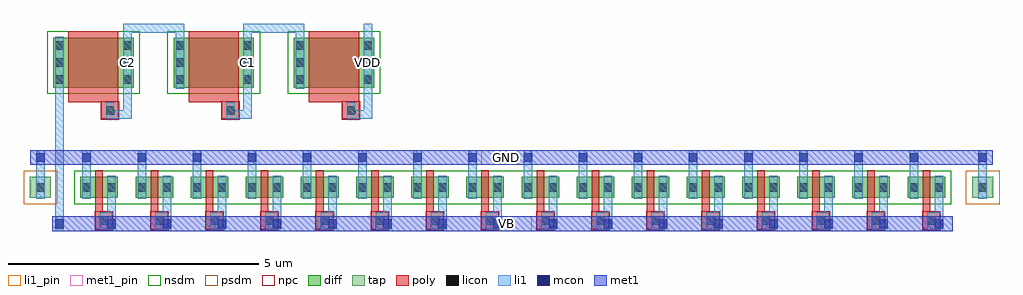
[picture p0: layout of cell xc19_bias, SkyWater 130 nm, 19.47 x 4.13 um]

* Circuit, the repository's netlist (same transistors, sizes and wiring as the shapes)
* NGSPICE file created from xc19_bias.ext - technology: sky130A

.subckt xc19_bias VB GND VDD C1 C2
X0 VB VB GND GND sky130_fd_pr__nfet_01v8 ad=0.126 pd=1.44 as=0.126 ps=1.44 w=0.42 l=0.15
X1 VB VB GND GND sky130_fd_pr__nfet_01v8 ad=0.126 pd=1.44 as=0.126 ps=1.44 w=0.42 l=0.15
X2 VB VB GND GND sky130_fd_pr__nfet_01v8 ad=0.126 pd=1.44 as=0.126 ps=1.44 w=0.42 l=0.15
X3 VB VB GND GND sky130_fd_pr__nfet_01v8 ad=0.126 pd=1.44 as=0.126 ps=1.44 w=0.42 l=0.15
X4 VB VB GND GND sky130_fd_pr__nfet_01v8 ad=0.126 pd=1.44 as=0.126 ps=1.44 w=0.42 l=0.15
X5 VB VB GND GND sky130_fd_pr__nfet_01v8 ad=0.126 pd=1.44 as=0.126 ps=1.44 w=0.42 l=0.15
X6 VB VB GND GND sky130_fd_pr__nfet_01v8 ad=0.126 pd=1.44 as=0.126 ps=1.44 w=0.42 l=0.15
X7 VB VB GND GND sky130_fd_pr__nfet_01v8 ad=0.126 pd=1.44 as=0.126 ps=1.44 w=0.42 l=0.15
X8 VB VB GND GND sky130_fd_pr__nfet_01v8 ad=0.126 pd=1.44 as=0.126 ps=1.44 w=0.42 l=0.15
X9 VB VB GND GND sky130_fd_pr__nfet_01v8 ad=0.126 pd=1.44 as=0.126 ps=1.44 w=0.42 l=0.15
X10 VB VB GND GND sky130_fd_pr__nfet_01v8 ad=0.126 pd=1.44 as=0.126 ps=1.44 w=0.42 l=0.15
X11 C2 C2 VB GND sky130_fd_pr__nfet_01v8 ad=0.3 pd=2.6 as=0.3 ps=2.6 w=1 l=1
X12 VB VB GND GND sky130_fd_pr__nfet_01v8 ad=0.126 pd=1.44 as=0.126 ps=1.44 w=0.42 l=0.15
X13 VB VB GND GND sky130_fd_pr__nfet_01v8 ad=0.126 pd=1.44 as=0.126 ps=1.44 w=0.42 l=0.15
X14 VB VB GND GND sky130_fd_pr__nfet_01v8 ad=0.126 pd=1.44 as=0.126 ps=1.44 w=0.42 l=0.15
X15 C1 C1 C2 GND sky130_fd_pr__nfet_01v8 ad=0.3 pd=2.6 as=0.3 ps=2.6 w=1 l=1
X16 VB VB GND GND sky130_fd_pr__nfet_01v8 ad=0.126 pd=1.44 as=0.126 ps=1.44 w=0.42 l=0.15
X17 VDD VDD C1 GND sky130_fd_pr__nfet_01v8 ad=0.3 pd=2.6 as=0.3 ps=2.6 w=1 l=1
X18 VB VB GND GND sky130_fd_pr__nfet_01v8 ad=0.126 pd=1.44 as=0.126 ps=1.44 w=0.42 l=0.15
.ends

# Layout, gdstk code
import gdstk
lib = gdstk.Library(unit=1e-6, precision=1e-09)
def R(c, l, rs):  # rectangles x0, y0, x1, y1
    for r in rs: c.add(gdstk.rectangle(r[:2], r[2:], *l))
def A(c, l, x, y, w, h, nx, ny, dx, dy):  # array of equal rectangles
    R(c, l, [(x+i*dx, y+j*dy, x+i*dx+w, y+j*dy+h) for i in range(nx) for j in range(ny)])
diff = (65, 20)
tap = (65, 44)
poly = (66, 20)
licon = (66, 44)
li1_pin = (67, 16)
li1 = (67, 20)
mcon = (67, 44)
met1_pin = (68, 16)
met1 = (68, 20)
nsdm = (93, 44)
psdm = (94, 20)
npc = (95, 20)

xc19_bias = lib.new_cell('xc19_bias')
A(xc19_bias, diff, 0, 0, 0.75, 0.42, 16, 1, 1.1, 0)
A(xc19_bias, diff, -0.54, 2.2, 1.6, 1, 3, 1, 2.4, 0)
R(xc19_bias, tap, [(-1.01,0,-0.59,0.42), (17.79,0,18.21,0.42)])
A(xc19_bias, poly, 0.3, -0.62, 0.34, 0.33, 16, 1, 1.1, 0)
A(xc19_bias, poly, 0.3, -0.29, 0.15, 0.84, 16, 1, 1.1, 0)
A(xc19_bias, poly, 0.42, 1.58, 0.34, 0.33, 3, 1, 2.4, 0)
A(xc19_bias, poly, -0.24, 1.91, 1, 1.42, 3, 1, 2.4, 0)
A(xc19_bias, licon, 0.39, -0.54, 0.17, 0.17, 16, 1, 1.1, 0)
A(xc19_bias, licon, 0.51, 1.66, 0.17, 0.17, 3, 1, 2.4, 0)
A(xc19_bias, licon, -0.5, 2.275, 0.17, 0.17, 1, 3, 0, 0.34)
A(xc19_bias, licon, 0.85, 2.275, 0.17, 0.17, 1, 3, 0, 0.34)
A(xc19_bias, licon, 1.9, 2.275, 0.17, 0.17, 1, 3, 0, 0.34)
A(xc19_bias, licon, 3.25, 2.275, 0.17, 0.17, 1, 3, 0, 0.34)
A(xc19_bias, licon, 4.3, 2.275, 0.17, 0.17, 1, 3, 0, 0.34)
A(xc19_bias, licon, 5.65, 2.275, 0.17, 0.17, 1, 3, 0, 0.34)
R(xc19_bias, licon, [(-0.885,0.125,-0.715,0.295), (0.04,0.125,0.21,0.295), (0.54,0.125,0.71,0.295), (1.14,0.125,1.31,0.295), (1.64,0.125,1.81,0.295), (2.24,0.125,2.41,0.295), (2.74,0.125,2.91,0.295), (3.34,0.125,3.51,0.295), (3.84,0.125,4.01,0.295), (4.44,0.125,4.61,0.295), (4.94,0.125,5.11,0.295), (5.54,0.125,5.71,0.295), (6.04,0.125,6.21,0.295), (6.64,0.125,6.81,0.295), (7.14,0.125,7.31,0.295), (7.74,0.125,7.91,0.295), (8.24,0.125,8.41,0.295), (8.84,0.125,9.01,0.295), (9.34,0.125,9.51,0.295), (9.94,0.125,10.11,0.295), (10.44,0.125,10.61,0.295), (11.04,0.125,11.21,0.295), (11.54,0.125,11.71,0.295), (12.14,0.125,12.31,0.295), (12.64,0.125,12.81,0.295), (13.24,0.125,13.41,0.295), (13.74,0.125,13.91,0.295), (14.34,0.125,14.51,0.295), (14.84,0.125,15.01,0.295), (15.44,0.125,15.61,0.295), (15.94,0.125,16.11,0.295), (16.54,0.125,16.71,0.295), (17.04,0.125,17.21,0.295), (17.915,0.125,18.085,0.295)])
A(xc19_bias, li1_pin, 0.85, 2.4, 0.17, 0.6, 3, 1, 2.4, 0)
A(xc19_bias, li1, 0.39, -0.62, 0.32, 0.33, 16, 1, 1.1, 0)
A(xc19_bias, li1, 0.54, -0.29, 0.17, 0.73, 16, 1, 1.1, 0)
A(xc19_bias, li1, 0.04, -0.02, 0.17, 0.97, 16, 1, 1.1, 0)
A(xc19_bias, li1, 0.51, 1.58, 0.51, 0.17, 3, 1, 2.4, 0)
A(xc19_bias, li1, 0.51, 1.75, 0.17, 0.16, 3, 1, 2.4, 0)
R(xc19_bias, li1, [(-0.5,-0.62,-0.33,3.22), (-0.885,-0.02,-0.715,0.95), (17.915,-0.02,18.085,0.95), (0.85,1.75,1.02,3.3), (3.25,1.75,3.42,3.3), (5.65,1.75,5.82,3.47), (1.9,2.18,2.07,3.3), (4.3,2.18,4.47,3.3), (0.85,3.3,2.07,3.47), (3.25,3.3,4.47,3.47)])
A(xc19_bias, mcon, 0.54, -0.6, 0.17, 0.17, 16, 1, 1.1, 0)
A(xc19_bias, mcon, 0.04, 0.72, 0.17, 0.17, 16, 1, 1.1, 0)
R(xc19_bias, mcon, [(-0.5,-0.6,-0.33,-0.43), (-0.885,0.72,-0.715,0.89), (17.915,0.72,18.085,0.89)])
R(xc19_bias, met1_pin, [(8,-0.66,9,-0.37), (8,0.66,9,0.95)])
R(xc19_bias, met1, [(-0.56,-0.66,17.4,-0.37), (-1,0.66,18.2,0.95)])
A(xc19_bias, nsdm, -0.665, 2.075, 1.85, 1.25, 3, 1, 2.4, 0)
R(xc19_bias, nsdm, [(-0.125,-0.125,17.375,0.545)])
R(xc19_bias, psdm, [(-1.135,-0.125,-0.465,0.545), (17.665,-0.125,18.335,0.545)])
A(xc19_bias, npc, 0.29, -0.64, 0.37, 0.37, 16, 1, 1.1, 0)
A(xc19_bias, npc, 0.41, 1.56, 0.37, 0.37, 3, 1, 2.4, 0)
xc19_bias.add(gdstk.Label('VB', (8.5,-0.515), layer=68, texttype=5))
xc19_bias.add(gdstk.Label('GND', (8.5,0.805), layer=68, texttype=5))
xc19_bias.add(gdstk.Label('VDD', (5.735,2.7), layer=67, texttype=5))
xc19_bias.add(gdstk.Label('C1', (3.335,2.7), layer=67, texttype=5))
xc19_bias.add(gdstk.Label('C2', (0.935,2.7), layer=67, texttype=5))

lib.write_gds('xc19_bias.gds')
